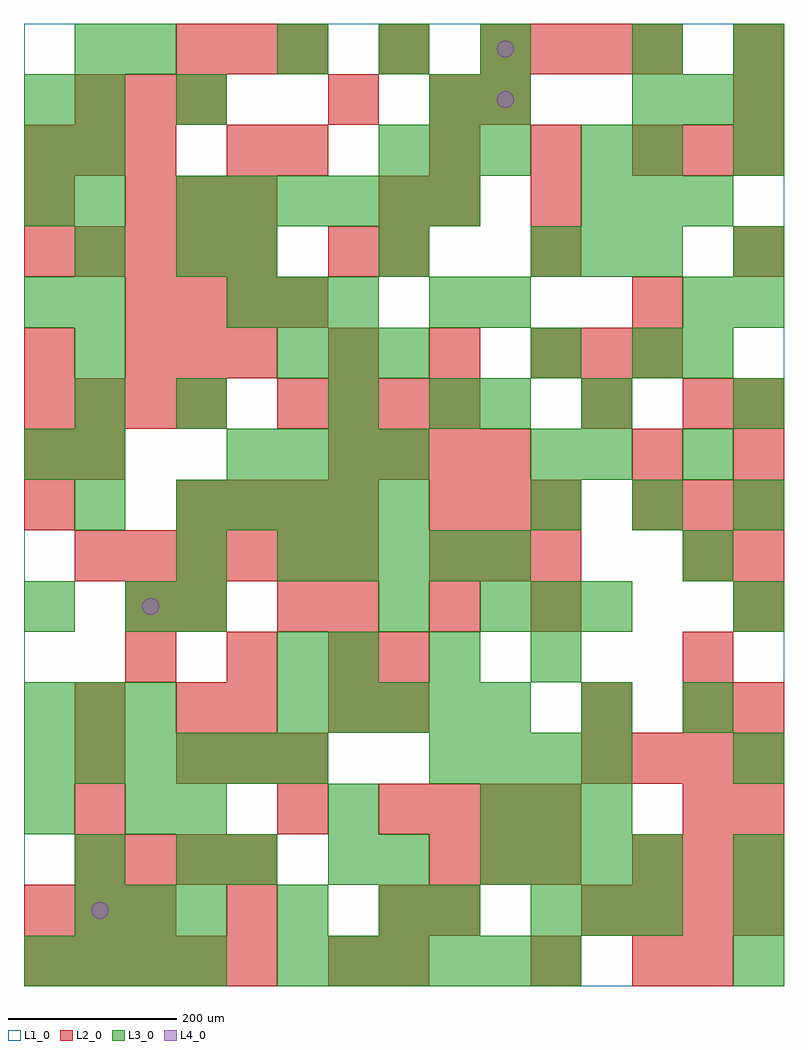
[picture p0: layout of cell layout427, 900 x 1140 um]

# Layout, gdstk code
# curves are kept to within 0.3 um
import gdstk
lib = gdstk.Library(unit=1e-6, precision=1e-09)
def R(c, l, rs):  # rectangles x0, y0, x1, y1
    for r in rs: c.add(gdstk.rectangle(r[:2], r[2:], *l))
def A(c, l, x, y, w, h, nx, ny, dx, dy):  # array of equal rectangles
    R(c, l, [(x+i*dx, y+j*dy, x+i*dx+w, y+j*dy+h) for i in range(nx) for j in range(ny)])
def P(c, l, *ps):  # polygons
    for p in ps: c.add(gdstk.Polygon(p, *l))
L1_0 = (1, 0)
L2_0 = (2, 0)
L3_0 = (3, 0)
L4_0 = (4, 0)

layout427 = lib.new_cell('layout427')
R(layout427, L1_0, [(0,0,900,1140)])
A(layout427, L2_0, 0, 0, 60, 60, 5, 2, 60, 840)
A(layout427, L2_0, 0, 60, 60, 60, 3, 2, 60, 900)
A(layout427, L2_0, 660, 60, 60, 60, 4, 2, 60, 180)
A(layout427, L2_0, 60, 120, 60, 60, 4, 1, 60, 0)
A(layout427, L2_0, 480, 120, 60, 60, 3, 2, 60, 360)
A(layout427, L2_0, 720, 120, 60, 60, 3, 2, 60, 420)
A(layout427, L2_0, 60, 180, 60, 60, 1, 3, 0, 60)
A(layout427, L2_0, 420, 180, 60, 60, 4, 1, 60, 0)
A(layout427, L2_0, 840, 180, 60, 60, 1, 3, 0, 120)
A(layout427, L2_0, 180, 240, 60, 60, 3, 2, 60, 840)
A(layout427, L2_0, 120, 360, 60, 60, 3, 1, 120, 0)
A(layout427, L2_0, 360, 420, 60, 60, 3, 2, 120, 300)
A(layout427, L2_0, 60, 480, 60, 60, 6, 1, 60, 0)
A(layout427, L2_0, 180, 540, 60, 60, 4, 1, 60, 0)
A(layout427, L2_0, 480, 540, 60, 60, 3, 1, 60, 0)
A(layout427, L2_0, 360, 600, 60, 60, 4, 1, 60, 0)
A(layout427, L2_0, 0, 660, 60, 60, 4, 1, 60, 0)
A(layout427, L2_0, 300, 660, 60, 60, 4, 1, 60, 0)
A(layout427, L2_0, 120, 720, 60, 60, 3, 2, 60, 180)
A(layout427, L2_0, 120, 780, 60, 60, 4, 1, 60, 0)
A(layout427, L2_0, 480, 960, 60, 60, 3, 1, 120, 0)
A(layout427, L2_0, 840, 960, 60, 60, 1, 3, 0, 60)
A(layout427, L2_0, 60, 1020, 60, 60, 3, 1, 60, 0)
A(layout427, L2_0, 540, 1080, 60, 60, 4, 1, 60, 0)
R(layout427, L2_0, [(360,0,420,60), (420,0,480,60), (600,0,660,60), (720,0,780,60), (780,0,840,60), (240,60,300,120), (420,60,480,120), (480,60,540,120), (300,180,360,240), (780,180,840,240), (180,300,240,360), (240,300,300,360), (360,300,420,360), (420,300,480,360), (660,300,720,360), (780,300,840,360), (420,360,480,420), (780,360,840,420), (120,420,180,480), (180,420,240,480), (300,420,360,480), (780,480,840,540), (840,480,900,540), (0,540,60,600), (0,600,60,660), (60,600,120,660), (720,600,780,660), (840,600,900,660), (660,660,720,720), (780,660,840,720), (840,660,900,720), (0,720,60,780), (660,720,720,780), (720,720,780,780), (720,780,780,840), (360,840,420,900), (420,840,480,900), (600,840,660,900), (840,840,900,900), (0,900,60,960), (420,900,480,960), (480,900,540,960), (600,900,660,960), (240,960,300,1020), (300,960,360,1020), (780,960,840,1020), (360,1020,420,1080), (480,1020,540,1080), (540,1020,600,1080), (420,1080,480,1140)])
A(layout427, L3_0, 0, 0, 60, 60, 4, 1, 60, 0)
A(layout427, L3_0, 300, 0, 60, 60, 6, 1, 60, 0)
A(layout427, L3_0, 840, 0, 60, 60, 1, 3, 0, 60)
A(layout427, L3_0, 60, 60, 60, 60, 3, 1, 60, 0)
A(layout427, L3_0, 600, 60, 60, 60, 3, 1, 60, 0)
A(layout427, L3_0, 540, 120, 60, 60, 4, 1, 60, 0)
A(layout427, L3_0, 180, 180, 60, 60, 3, 1, 180, 0)
A(layout427, L3_0, 0, 240, 60, 60, 6, 1, 60, 0)
A(layout427, L3_0, 480, 240, 60, 60, 4, 1, 60, 0)
A(layout427, L3_0, 0, 300, 60, 60, 3, 1, 60, 0)
A(layout427, L3_0, 300, 300, 60, 60, 5, 2, 60, 180)
A(layout427, L3_0, 360, 360, 60, 60, 3, 1, 120, 0)
A(layout427, L3_0, 0, 420, 60, 60, 1, 3, 0, 180)
A(layout427, L3_0, 540, 420, 60, 60, 3, 1, 60, 0)
A(layout427, L3_0, 180, 480, 60, 60, 1, 4, 0, 180)
A(layout427, L3_0, 780, 480, 60, 60, 1, 3, 0, 120)
A(layout427, L3_0, 60, 540, 60, 60, 1, 10, 0, 60)
A(layout427, L3_0, 180, 540, 60, 60, 5, 1, 60, 0)
A(layout427, L3_0, 600, 540, 60, 60, 3, 1, 120, 0)
A(layout427, L3_0, 240, 600, 60, 60, 4, 1, 60, 0)
A(layout427, L3_0, 300, 720, 60, 60, 3, 1, 60, 0)
A(layout427, L3_0, 720, 720, 60, 60, 1, 4, 0, 120)
A(layout427, L3_0, 240, 780, 60, 60, 3, 1, 60, 0)
A(layout427, L3_0, 240, 840, 60, 60, 3, 1, 180, 0)
A(layout427, L3_0, 840, 840, 60, 60, 1, 3, 0, 120)
A(layout427, L3_0, 0, 900, 60, 60, 1, 3, 0, 60)
A(layout427, L3_0, 180, 900, 60, 60, 6, 1, 60, 0)
A(layout427, L3_0, 660, 900, 60, 60, 3, 1, 60, 0)
A(layout427, L3_0, 420, 960, 60, 60, 3, 1, 60, 0)
A(layout427, L3_0, 720, 1020, 60, 60, 3, 1, 60, 0)
A(layout427, L3_0, 300, 1080, 60, 60, 3, 1, 120, 0)
R(layout427, L3_0, [(300,60,360,120), (420,60,480,120), (480,60,540,120), (60,120,120,180), (180,120,240,180), (240,120,300,180), (360,120,420,180), (420,120,480,180), (0,180,60,240), (120,180,180,240), (600,180,660,240), (660,180,720,240), (840,240,900,300), (660,300,720,360), (780,300,840,360), (300,360,360,420), (120,420,180,480), (180,420,240,480), (420,420,480,480), (840,420,900,480), (600,600,660,660), (660,600,720,660), (360,660,420,720), (480,660,540,720), (540,660,600,720), (660,660,720,720), (840,660,900,720), (600,720,660,780), (480,780,540,840), (540,780,600,840), (780,780,840,840), (840,780,900,840), (660,840,720,900), (660,960,720,1020), (480,1020,540,1080), (540,1020,600,1080), (120,1080,180,1140)])
P(layout427, L4_0, [(100,90),(99.239,93.827),(97.071,97.071),(93.827,99.239),(90,100),(86.173,99.239),(82.929,97.071),(80.761,93.827),(80,90),(80.761,86.173),(82.929,82.929),(86.173,80.761),(90,80),(93.827,80.761),(97.071,82.929),(99.239,86.173)],
  [(160,450),(159.239,453.827),(157.071,457.071),(153.827,459.239),(150,460),(146.173,459.239),(142.929,457.071),(140.761,453.827),(140,450),(140.761,446.173),(142.929,442.929),(146.173,440.761),(150,440),(153.827,440.761),(157.071,442.929),(159.239,446.173)],
  [(580,1050),(579.239,1053.827),(577.071,1057.071),(573.827,1059.239),(570,1060),(566.173,1059.239),(562.929,1057.071),(560.761,1053.827),(560,1050),(560.761,1046.173),(562.929,1042.929),(566.173,1040.761),(570,1040),(573.827,1040.761),(577.071,1042.929),(579.239,1046.173)],
  [(580,1110),(579.239,1113.827),(577.071,1117.071),(573.827,1119.239),(570,1120),(566.173,1119.239),(562.929,1117.071),(560.761,1113.827),(560,1110),(560.761,1106.173),(562.929,1102.929),(566.173,1100.761),(570,1100),(573.827,1100.761),(577.071,1102.929),(579.239,1106.173)])

lib.write_gds('layout427.gds')
